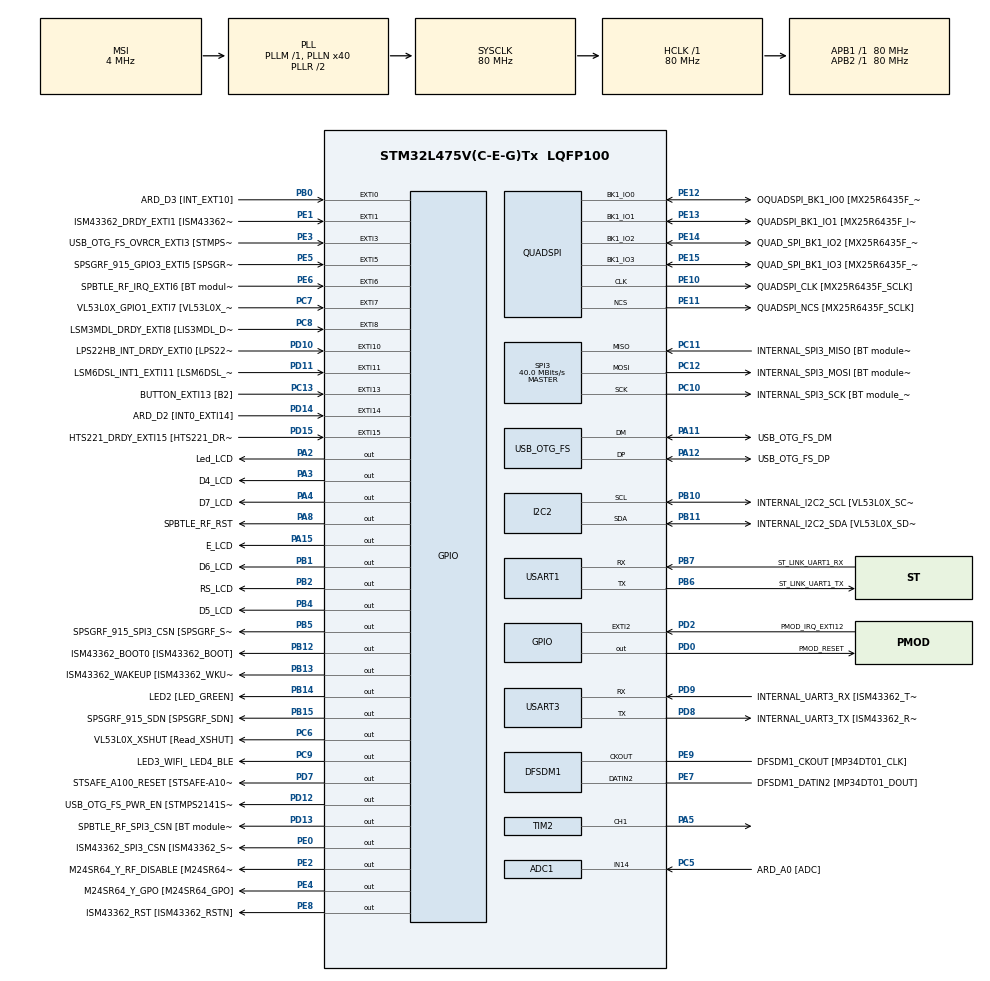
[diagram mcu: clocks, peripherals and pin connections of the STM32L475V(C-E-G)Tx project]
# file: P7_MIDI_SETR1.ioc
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ADC1.Channel-0\#ChannelRegularConversion=ADC_CHANNEL_14
ADC1.NbrOfConversionFlag=1
ADC1.OffsetNumber-0\#ChannelRegularConversion=ADC_OFFSET_NONE
ADC1.Rank-0\#ChannelRegularConversion=1
ADC1.SamplingTime-0\#ChannelRegularConversion=ADC_SAMPLETIME_2CYCLES_5
ADC1.master=1
I2C2.Timing=0x10D19CE4
Mcu.Family=STM32L4
Mcu.Name=STM32L475V(C-E-G)Tx
Mcu.Package=LQFP100
NVIC.EXTI15_10_IRQn=true\:0\:0\:false\:false\:true\:true\:true\:true
NVIC.EXTI9_5_IRQn=true\:0\:0\:false\:false\:true\:true\:true\:true
NVIC.OTG_FS_IRQn=true\:0\:0\:false\:false\:true\:true\:true\:true
NVIC.PriorityGroup=NVIC_PRIORITYGROUP_4
NVIC.TIM7_IRQn=true\:0\:0\:false\:false\:true\:true\:true\:true
PA0.GPIO_Label=ARD_D1 [UART4_TX]
PA0.Signal=UART4_TX
PA1.GPIO_Label=ARD_D0 [UART4_RX]
PA1.Signal=UART4_RX
PA10.GPIO_Label=USB_OTG_FS_ID
PA10.Signal=USB_OTG_FS_ID
PA11.GPIO_Label=USB_OTG_FS_DM
PA11.Mode=Device_Only
PA11.Signal=USB_OTG_FS_DM
PA12.GPIO_Label=USB_OTG_FS_DP
PA12.Mode=Device_Only
PA12.Signal=USB_OTG_FS_DP
PA13\ (JTMS-SWDIO).GPIO_Label=SYS_JTMS_SWDIO
PA13\ (JTMS-SWDIO).Mode=Serial_Wire
PA13\ (JTMS-SWDIO).Signal=SYS_JTMS-SWDIO
PA14\ (JTCK-SWCLK).GPIO_Label=SYS_JTCK_SWCLK
PA14\ (JTCK-SWCLK).Mode=Serial_Wire
PA14\ (JTCK-SWCLK).Signal=SYS_JTCK-SWCLK
PA15\ (JTDI).GPIO_Label=E_LCD
PA15\ (JTDI).Signal=GPIO_Output
PA2.GPIO_Label=Led_LCD
PA2.Signal=GPIO_Output
PA3.GPIO_Label=D4_LCD
PA3.Signal=GPIO_Output
PA4.GPIO_Label=D7_LCD
PA4.Signal=GPIO_Output
PA5.Signal=S_TIM2_CH1
PA6.GPIO_Label=ARD_D12 [SPI1_MISO]
PA6.Signal=SPI1_MISO
PA7.GPIO_Label=ARD_D11 [SPI1_MOSI]
PA7.Signal=SPI1_MOSI
PA8.GPIO_Label=SPBTLE_RF_RST
PA8.Signal=GPIO_Output
PA9.GPIO_Label=USB_OTG_FS_VBUS [STMPS2141STR_OUT]
PA9.Signal=USB_OTG_FS_VBUS
PB0.GPIO_Label=ARD_D3 [INT_EXT10]
PB0.Signal=GPXTI0
PB1.GPIO_Label=D6_LCD
PB1.Signal=GPIO_Output
PB10.GPIO_Label=INTERNAL_I2C2_SCL [VL53L0X_SCL]
PB10.GPIO_Pu=GPIO_PULLUP
PB10.Mode=I2C
PB10.Signal=I2C2_SCL
PB11.GPIO_Label=INTERNAL_I2C2_SDA [VL53L0X_SDA]
PB11.GPIO_Pu=GPIO_PULLUP
PB11.Mode=I2C
PB11.Signal=I2C2_SDA
PB12.GPIO_Label=ISM43362_BOOT0 [ISM43362_BOOT]
PB12.Signal=GPIO_Output
PB13.GPIO_Label=ISM43362_WAKEUP [ISM43362_WKUP]
PB13.Signal=GPIO_Output
PB14.GPIO_Label=LED2 [LED_GREEN]
PB14.Signal=GPIO_Output
PB15.GPIO_Label=SPSGRF_915_SDN [SPSGRF_SDN]
PB15.Signal=GPIO_Output
PB2.GPIO_Label=RS_LCD
PB2.Signal=GPIO_Output
PB3\ (JTDO-TRACESWO).GPIO_Label=SYS_JTD0_SWO
PB3\ (JTDO-TRACESWO).Signal=SYS_JTDO-SWO
PB4\ (NJTRST).GPIO_Label=D5_LCD
PB4\ (NJTRST).Signal=GPIO_Output
PB5.GPIO_Label=SPSGRF_915_SPI3_CSN [SPSGRF_SPI_CS]
PB5.PinState=GPIO_PIN_SET
PB5.Signal=GPIO_Output
PB6.GPIO_Label=ST_LINK_UART1_TX
PB6.Mode=Asynchronous
PB6.Signal=USART1_TX
PB7.GPIO_Label=ST_LINK_UART1_RX
PB7.Mode=Asynchronous
PB7.Signal=USART1_RX
PB8.GPIO_Label=ARD_D15 [I2C1_SCL]
PB8.Signal=I2C1_SCL
PB9.GPIO_Label=ARD_D14 [I2C1_SDA]
PB9.Signal=I2C1_SDA
PC0.GPIO_Label=ARD_A5 [ADC]
PC0.Signal=ADCx_IN1
PC1.GPIO_Label=ARD_A4 [ADC]
PC1.Signal=ADCx_IN2
PC10.GPIO_Label=INTERNAL_SPI3_SCK [BT module_SPI_SCLK] [ISM43362_SCK]
PC10.Mode=Full_Duplex_Master
PC10.Signal=SPI3_SCK
PC11.GPIO_Label=INTERNAL_SPI3_MISO [BT module_SPI_MISO] [ISM43362_MISO]
PC11.Mode=Full_Duplex_Master
PC11.Signal=SPI3_MISO
PC12.GPIO_Label=INTERNAL_SPI3_MOSI [BT module_SPI_MOSI] [ISM43362_MOSI]
PC12.Mode=Full_Duplex_Master
PC12.Signal=SPI3_MOSI
PC13.GPIO_Label=BUTTON_EXTI13 [B2]
PC13.GPIO_ModeDefaultEXTI=GPIO_MODE_IT_FALLING
PC13.Signal=GPXTI13
PC14-OSC32_IN\ (PC14).Mode=LSE-External-Oscillator
PC14-OSC32_IN\ (PC14).Signal=RCC_OSC32_IN
PC15-OSC32_OUT\ (PC15).Mode=LSE-External-Oscillator
PC15-OSC32_OUT\ (PC15).Signal=RCC_OSC32_OUT
PC2.GPIO_Label=ARD_A3 [ADC]
PC2.Signal=ADCx_IN3
PC3.GPIO_Label=ARD_A2 [ADC]
PC3.Signal=ADCx_IN4
PC4.GPIO_Label=ARD_A1 [ADC]
PC4.Signal=ADCx_IN13
PC5.GPIO_Label=ARD_A0 [ADC]
PC5.Signal=ADCx_IN14
PC6.GPIO_Label=VL53L0X_XSHUT [Read_XSHUT]
PC6.Signal=GPIO_Output
PC7.GPIO_Label=VL53L0X_GPIO1_EXTI7 [VL53L0X_GPIO1]
PC7.Signal=GPXTI7
PC8.GPIO_Label=LSM3MDL_DRDY_EXTI8 [LIS3MDL_DRDY]
PC8.Signal=GPXTI8
PC9.GPIO_Label=LED3_WIFI_ LED4_BLE
PC9.Signal=GPIO_Output
PD0.GPIO_Label=PMOD_RESET
PD0.Signal=GPIO_Output
PD1.GPIO_Label=PMOD_SPI2_SCK
PD1.Signal=SPI2_SCK
PD10.GPIO_Label=LPS22HB_INT_DRDY_EXTI0 [LPS22HB_INT_DRDY] 
PD10.Signal=GPXTI10
PD11.GPIO_Label=LSM6DSL_INT1_EXTI11 [LSM6DSL_INT1]
PD11.Signal=GPXTI11
PD12.GPIO_Label=USB_OTG_FS_PWR_EN [STMPS2141STR_EN]
PD12.Signal=GPIO_Output
PD13.GPIO_Label=SPBTLE_RF_SPI3_CSN [BT module_SPI_CS]
PD13.PinState=GPIO_PIN_SET
PD13.Signal=GPIO_Output
PD14.GPIO_Label=ARD_D2 [INT0_EXTI14]
PD14.Signal=GPXTI14
PD15.GPIO_Label=HTS221_DRDY_EXTI15 [HTS221_DRDY]
PD15.Signal=GPXTI15
PD2.GPIO_Label=PMOD_IRQ_EXTI12
PD2.Signal=GPXTI2
PD3.GPIO_Label=PMOD_UART2_CTS
PD3.Signal=USART2_CTS
PD4.GPIO_Label=PMOD_UART2_RTS
PD4.Signal=USART2_RTS
PD5.GPIO_Label=PMOD_UART2_TX
PD5.Signal=USART2_TX
PD6.GPIO_Label=PMOD_UART2_RX
PD6.Signal=USART2_RX
PD7.GPIO_Label=STSAFE_A100_RESET [STSAFE-A100_RESET]
PD7.Signal=GPIO_Output
PD8.GPIO_Label=INTERNAL_UART3_TX [ISM43362_RX]
PD8.Mode=Asynchronous
PD8.Signal=USART3_TX
PD9.GPIO_Label=INTERNAL_UART3_RX [ISM43362_TX]
PD9.Mode=Asynchronous
PD9.Signal=USART3_RX
PE0.GPIO_Label=ISM43362_SPI3_CSN [ISM43362_SSN]
PE0.PinState=GPIO_PIN_SET
PE0.Signal=GPIO_Output
PE1.GPIO_Label=ISM43362_DRDY_EXTI1 [ISM43362_DATARDY]
PE1.Signal=GPXTI1
PE10.GPIO_Label=QUADSPI_CLK [MX25R6435F_SCLK]
PE10.Mode=Single Bank
PE10.Signal=QUADSPI_CLK
PE11.GPIO_Label=QUADSPI_NCS [MX25R6435F_SCLK]
PE11.Mode=Single Bank
PE11.Signal=QUADSPI_NCS
PE12.GPIO_Label=OQUADSPI_BK1_IO0 [MX25R6435F_IO0]
PE12.Mode=Single Bank
PE12.Signal=QUADSPI_BK1_IO0
PE13.GPIO_Label=QUADSPI_BK1_IO1 [MX25R6435F_IO1]
PE13.Mode=Single Bank
PE13.Signal=QUADSPI_BK1_IO1
PE14.GPIO_Label=QUAD_SPI_BK1_IO2 [MX25R6435F_IO2]
PE14.Mode=Single Bank
PE14.Signal=QUADSPI_BK1_IO2
PE15.GPIO_Label=QUAD_SPI_BK1_IO3 [MX25R6435F_IO3]
PE15.Mode=Single Bank
PE15.Signal=QUADSPI_BK1_IO3
PE2.GPIO_Label=M24SR64_Y_RF_DISABLE [M24SR64_RFDIS]
PE2.Signal=GPIO_Output
PE3.GPIO_Label=USB_OTG_FS_OVRCR_EXTI3 [STMPS2141STR_FAULT]
PE3.Signal=GPXTI3
PE4.GPIO_Label=M24SR64_Y_GPO [M24SR64_GPO]
PE4.Signal=GPIO_Output
PE5.GPIO_Label=SPSGRF_915_GPIO3_EXTI5 [SPSGRF_GPIO_3]
PE5.Signal=GPXTI5
PE6.GPIO_Label=SPBTLE_RF_IRQ_EXTI6 [BT module_SPI_IRQ]
PE6.Signal=GPXTI6
PE7.GPIO_Label=DFSDM1_DATIN2 [MP34DT01_DOUT]
PE7.Signal=S_DATAIN2DFSDM1
PE8.GPIO_Label=ISM43362_RST [ISM43362_RSTN]
PE8.Signal=GPIO_Output
PE9.GPIO_Label=DFSDM1_CKOUT [MP34DT01_CLK]
PE9.Signal=S_CKOUTDFSDM1
ProjectManager.HeapSize=0x200
ProjectManager.StackSize=0x400
ProjectManager.TargetToolchain=STM32CubeIDE
QUADSPI.ClockPrescaler=2
QUADSPI.FifoThreshold=4
QUADSPI.FlashSize=23
QUADSPI.SampleShifting=QSPI_SAMPLE_SHIFTING_HALFCYCLE
RCC.ADCFreq_Value=48000000
RCC.AHBFreq_Value=80000000
RCC.APB1Freq_Value=80000000
RCC.APB1TimFreq_Value=80000000
RCC.APB2Freq_Value=80000000
RCC.APB2TimFreq_Value=80000000
RCC.CortexFreq_Value=80000000
RCC.HCLKFreq_Value=80000000
RCC.HSE_VALUE=8000000
RCC.HSI_VALUE=16000000
RCC.MSI_VALUE=4000000
RCC.PLLN=40
RCC.PLLSAI1N=24
RCC.SYSCLKFreq_VALUE=80000000
RCC.SYSCLKSource=RCC_SYSCLKSOURCE_PLLCLK
RCC.USBFreq_Value=48000000
RCC.VCOOutputFreq_Value=160000000
SH.ADCx_IN1.0=ADC1_IN1
SH.ADCx_IN13.0=ADC1_IN13
SH.ADCx_IN14.0=ADC1_IN14,IN14-Single-Ended
SH.ADCx_IN2.0=ADC1_IN2
SH.ADCx_IN3.0=ADC1_IN3
SH.ADCx_IN4.0=ADC1_IN4
SH.S_CKOUTDFSDM1.0=DFSDM1_CKOUT,CKOUT
SH.S_CKOUTDFSDM1.1=DFSDM1_CKOUT,PDM_SPI_Input_from_ch12_and_Internal_Clock
SH.S_DATAIN2DFSDM1.0=DFSDM1_DATIN2,PDM_SPI_Input_from_ch12_and_Internal_Clock
SH.S_TIM2_CH1.0=TIM2_CH1,PWM Generation1 CH1
SPI3.CalculateBaudRate=40.0 MBits/s
SPI3.Direction=SPI_DIRECTION_2LINES
SPI3.Mode=SPI_MODE_MASTER
SPI3.VirtualType=VM_MASTER
TIM2.Channel-PWM\ Generation1\ CH1=TIM_CHANNEL_1
TIM2.CounterMode=TIM_COUNTERMODE_DOWN
TIM2.Period=1000
TIM7.Period=3300
USART1.VirtualMode-Asynchronous=VM_ASYNC
USART3.VirtualMode-Asynchronous=VM_ASYNC
USB_DEVICE.CLASS_NAME_FS=CUSTOM_HID
USB_DEVICE.CONFIGURATION_STRING_CUSTOMHID_FS=SETR MIDI Config
USB_DEVICE.INTERFACE_STRING_CUSTOMHID_FS=SETR MIDI Interface
USB_DEVICE.PID_CUSTOMHID_FS=22353
USB_DEVICE.PRODUCT_STRING_CUSTOMHID_FS=SETR MIDI
USB_DEVICE.VID=1156
USB_DEVICE.VirtualMode=CustomHid
USB_DEVICE.VirtualModeFS=Custom_Hid_FS
USB_OTG_FS.VirtualMode=Device_Only
VP_TIM7_VS_ClockSourceINT.Mode=Enable_Timer
VP_USB_DEVICE_VS_USB_DEVICE_CUSTOM_HID_FS.Mode=CUSTOM_HID_FS
board=B-L475E-IOT01A1

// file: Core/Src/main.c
/* USER CODE BEGIN Header */
/**
  ******************************************************************************
  * @file           : main.c
  * @brief          : Main program body
  ******************************************************************************
  * @attention
  *
  * Copyright (c) 2025 STMicroelectronics.
  * All rights reserved.
  *
  * This software is licensed under terms that can be found in the LICENSE file
  * in the root directory of this software component.
  * If no LICENSE file comes with this software, it is provided AS-IS.
  *
  ******************************************************************************
  */
/* USER CODE END Header */
#include "main.h"
#include "usb_device.h"

/* USER CODE BEGIN Includes */
#include "usbd_midi.h"
#include "math.h"
/* USER CODE END Includes */

ADC_HandleTypeDef hadc1;

DFSDM_Channel_HandleTypeDef hdfsdm1_channel1;

I2C_HandleTypeDef hi2c2;

QSPI_HandleTypeDef hqspi;

SPI_HandleTypeDef hspi3;

TIM_HandleTypeDef htim2;
TIM_HandleTypeDef htim7;

UART_HandleTypeDef huart1;
UART_HandleTypeDef huart3;

/* USER CODE BEGIN PV */
extern USBD_HandleTypeDef hUsbDeviceFS;
/* USER CODE END PV */

void SystemClock_Config(void);
void PeriphCommonClock_Config(void);
static void MX_GPIO_Init(void);
static void MX_DFSDM1_Init(void);
static void MX_I2C2_Init(void);
static void MX_QUADSPI_Init(void);
static void MX_SPI3_Init(void);
static void MX_USART1_UART_Init(void);
static void MX_USART3_UART_Init(void);
static void MX_TIM7_Init(void);
static void MX_ADC1_Init(void);
static void MX_TIM2_Init(void);

/* USER CODE BEGIN 0 */
void Transmision_nota_on(uint8_t nota, uint8_t velocidad, uint8_t canal) {
    uint8_t buf[4];
    buf[0] = 0x09;                    // USB MIDI header: Note On
    buf[1] = 0x90 | canal;   // Status byte: Note On + canal
    buf[2] = nota;                   // Nota (0-127)
    buf[3] = velocidad;              // Velocidad (0-127)
    USBD_MIDI_SendReport(&hUsbDeviceFS, buf, 4);
}

void Transmision_nota_off(uint8_t nota, uint8_t velocidad, uint8_t canal) {
    uint8_t buf[4];
    buf[0] = 0x08;                    // USB MIDI header: Note Off
    buf[1] = 0x80 | canal;   // Status byte: Note Off + canal
    buf[2] = nota;
    buf[3] = velocidad;
    USBD_MIDI_SendReport(&hUsbDeviceFS, buf, 4);
}

void Transmision_programchange(uint8_t programa) {
    uint8_t buf[4];
    buf[0] = 0x0C;                    // USB MIDI header: Program Change
    buf[1] = 0xC0;                    // Status byte: Program Change en canal 0
    buf[2] = programa;               // Número de programa (0-127)
    buf[3] = 0x00;                   // Sin uso
    USBD_MIDI_SendReport(&hUsbDeviceFS, buf, 4);
}

void Transmision_controlchange(uint8_t numcontrolador, uint8_t valorcontrolador) {
    uint8_t buf[4];
    buf[0] = 0x0B;                    // USB MIDI header: Control Change
    buf[1] = 0xB0;                    // Status byte: Control Change en canal 0
    buf[2] = numcontrolador;         // Número de controlador (p. ej. 7 = volumen)
    buf[3] = valorcontrolador;       // Valor (0-127)
    USBD_MIDI_SendReport(&hUsbDeviceFS, buf, 4);
}

/* USER CODE END 0 */

int main(void)
{

  /* MCU Configuration--------------------------------------------------------*/

  /* Reset of all peripherals, Initializes the Flash interface and the Systick. */
  HAL_Init();

  /* Configure the system clock */
  SystemClock_Config();

  /* Configure the peripherals common clocks */
  PeriphCommonClock_Config();

  /* Initialize all configured peripherals */
  MX_GPIO_Init();
  MX_DFSDM1_Init();
  MX_I2C2_Init();
  MX_QUADSPI_Init();
  MX_SPI3_Init();
  MX_USART1_UART_Init();
  MX_USART3_UART_Init();
  MX_TIM7_Init();
  MX_USB_DEVICE_Init();
  MX_ADC1_Init();
  MX_TIM2_Init();
  /* USER CODE BEGIN 2 */
  uint8_t escala[] = {60, 62, 64, 65, 67, 69, 71}; // Do Re Mi Fa Sol La Si
  //uint8_t num_notas = sizeof(escala) / sizeof(escala[0]);
  void USBD_MIDI_DataInHandler(uint8_t *usb_rx_buffer, uint8_t usb_rx_buffer_length)
  {
  	uint8_t wire, message, channel, byte1, byte2;
  	while(usb_rx_buffer_length && *usb_rx_buffer != 0x00)
  	{
  		wire = usb_rx_buffer[0] >> 4;
  		message = usb_rx_buffer[1];
  		channel = usb_rx_buffer[1] & 0x0F;
  		byte1 = usb_rx_buffer[2];
  		byte2 = usb_rx_buffer[3];

  		// Nota ON
  		if(message == 0x09 && byte2 > 0)
  		{
  			float freq = 440.0f * pow(2.0f, ((int)byte1 - 69) / 12.0f);
  			uint32_t period = 80000000 / (uint32_t)freq;
  			uint32_t compare = (period * byte2) / 127;

  			__HAL_TIM_SET_AUTORELOAD(&htim2, period);
  			__HAL_TIM_SET_COMPARE(&htim2, TIM_CHANNEL_1, compare);

  			HAL_TIM_PWM_Start(&htim2, TIM_CHANNEL_1);
  		}
  		// Nota OFF o ON sin volumen
  		else if((message == 0x08) || (message == 0x09 && byte2 == 0))
  		{
  			HAL_TIM_PWM_Stop(&htim2, TIM_CHANNEL_1);
  		}

  		usb_rx_buffer += 4;
		usb_rx_buffer_length -= 4;
  	}
  }
  /* USER CODE END 2 */

  /* Infinite loop */
  while (1)
  {

  }
}

void SystemClock_Config(void)
{
  RCC_OscInitTypeDef RCC_OscInitStruct = {0};
  RCC_ClkInitTypeDef RCC_ClkInitStruct = {0};

  /** Configure the main internal regulator output voltage
  */
  if (HAL_PWREx_ControlVoltageScaling(PWR_REGULATOR_VOLTAGE_SCALE1) != HAL_OK)
  {
    Error_Handler();
  }

  /** Configure LSE Drive Capability
  */
  HAL_PWR_EnableBkUpAccess();
  __HAL_RCC_LSEDRIVE_CONFIG(RCC_LSEDRIVE_LOW);

  /** Initializes the RCC Oscillators according to the specified parameters
  * in the RCC_OscInitTypeDef structure.
  */
  RCC_OscInitStruct.OscillatorType = RCC_OSCILLATORTYPE_LSE|RCC_OSCILLATORTYPE_MSI;
  RCC_OscInitStruct.LSEState = RCC_LSE_ON;
  RCC_OscInitStruct.MSIState = RCC_MSI_ON;
  RCC_OscInitStruct.MSICalibrationValue = 0;
  RCC_OscInitStruct.MSIClockRange = RCC_MSIRANGE_6;
  RCC_OscInitStruct.PLL.PLLState = RCC_PLL_ON;
  RCC_OscInitStruct.PLL.PLLSource = RCC_PLLSOURCE_MSI;
  RCC_OscInitStruct.PLL.PLLM = 1;
  RCC_OscInitStruct.PLL.PLLN = 40;
  RCC_OscInitStruct.PLL.PLLP = RCC_PLLP_DIV7;
  RCC_OscInitStruct.PLL.PLLQ = RCC_PLLQ_DIV2;
  RCC_OscInitStruct.PLL.PLLR = RCC_PLLR_DIV2;
  if (HAL_RCC_OscConfig(&RCC_OscInitStruct) != HAL_OK)
  {
    Error_Handler();
  }

  /** Initializes the CPU, AHB and APB buses clocks
  */
  RCC_ClkInitStruct.ClockType = RCC_CLOCKTYPE_HCLK|RCC_CLOCKTYPE_SYSCLK
                              |RCC_CLOCKTYPE_PCLK1|RCC_CLOCKTYPE_PCLK2;
  RCC_ClkInitStruct.SYSCLKSource = RCC_SYSCLKSOURCE_PLLCLK;
  RCC_ClkInitStruct.AHBCLKDivider = RCC_SYSCLK_DIV1;
  RCC_ClkInitStruct.APB1CLKDivider = RCC_HCLK_DIV1;
  RCC_ClkInitStruct.APB2CLKDivider = RCC_HCLK_DIV1;

  if (HAL_RCC_ClockConfig(&RCC_ClkInitStruct, FLASH_LATENCY_4) != HAL_OK)
  {
    Error_Handler();
  }

  /** Enable MSI Auto calibration
  */
  HAL_RCCEx_EnableMSIPLLMode();
}

void PeriphCommonClock_Config(void)
{
  RCC_PeriphCLKInitTypeDef PeriphClkInit = {0};

  /** Initializes the peripherals clock
  */
  PeriphClkInit.PeriphClockSelection = RCC_PERIPHCLK_USB|RCC_PERIPHCLK_ADC;
  PeriphClkInit.AdcClockSelection = RCC_ADCCLKSOURCE_PLLSAI1;
  PeriphClkInit.UsbClockSelection = RCC_USBCLKSOURCE_PLLSAI1;
  PeriphClkInit.PLLSAI1.PLLSAI1Source = RCC_PLLSOURCE_MSI;
  PeriphClkInit.PLLSAI1.PLLSAI1M = 1;
  PeriphClkInit.PLLSAI1.PLLSAI1N = 24;
  PeriphClkInit.PLLSAI1.PLLSAI1P = RCC_PLLP_DIV7;
  PeriphClkInit.PLLSAI1.PLLSAI1Q = RCC_PLLQ_DIV2;
  PeriphClkInit.PLLSAI1.PLLSAI1R = RCC_PLLR_DIV2;
  PeriphClkInit.PLLSAI1.PLLSAI1ClockOut = RCC_PLLSAI1_48M2CLK|RCC_PLLSAI1_ADC1CLK;
  if (HAL_RCCEx_PeriphCLKConfig(&PeriphClkInit) != HAL_OK)
  {
    Error_Handler();
  }
}

static void MX_ADC1_Init(void)
{

  ADC_MultiModeTypeDef multimode = {0};
  ADC_ChannelConfTypeDef sConfig = {0};

  /** Common config
  */
  hadc1.Instance = ADC1;
  hadc1.Init.ClockPrescaler = ADC_CLOCK_ASYNC_DIV1;
  hadc1.Init.Resolution = ADC_RESOLUTION_12B;
  hadc1.Init.DataAlign = ADC_DATAALIGN_RIGHT;
  hadc1.Init.ScanConvMode = ADC_SCAN_DISABLE;
  hadc1.Init.EOCSelection = ADC_EOC_SINGLE_CONV;
  hadc1.Init.LowPowerAutoWait = DISABLE;
  hadc1.Init.ContinuousConvMode = DISABLE;
  hadc1.Init.NbrOfConversion = 1;
  hadc1.Init.DiscontinuousConvMode = DISABLE;
  hadc1.Init.ExternalTrigConv = ADC_SOFTWARE_START;
  hadc1.Init.ExternalTrigConvEdge = ADC_EXTERNALTRIGCONVEDGE_NONE;
  hadc1.Init.DMAContinuousRequests = DISABLE;
  hadc1.Init.Overrun = ADC_OVR_DATA_PRESERVED;
  hadc1.Init.OversamplingMode = DISABLE;
  if (HAL_ADC_Init(&hadc1) != HAL_OK)
  {
    Error_Handler();
  }

  /** Configure the ADC multi-mode
  */
  multimode.Mode = ADC_MODE_INDEPENDENT;
  if (HAL_ADCEx_MultiModeConfigChannel(&hadc1, &multimode) != HAL_OK)
  {
    Error_Handler();
  }

  /** Configure Regular Channel
  */
  sConfig.Channel = ADC_CHANNEL_14;
  sConfig.Rank = ADC_REGULAR_RANK_1;
  sConfig.SamplingTime = ADC_SAMPLETIME_2CYCLES_5;
  sConfig.SingleDiff = ADC_SINGLE_ENDED;
  sConfig.OffsetNumber = ADC_OFFSET_NONE;
  sConfig.Offset = 0;
  if (HAL_ADC_ConfigChannel(&hadc1, &sConfig) != HAL_OK)
  {
    Error_Handler();
  }

}

static void MX_DFSDM1_Init(void)
{

  hdfsdm1_channel1.Instance = DFSDM1_Channel1;
  hdfsdm1_channel1.Init.OutputClock.Activation = ENABLE;
  hdfsdm1_channel1.Init.OutputClock.Selection = DFSDM_CHANNEL_OUTPUT_CLOCK_SYSTEM;
  hdfsdm1_channel1.Init.OutputClock.Divider = 2;
  hdfsdm1_channel1.Init.Input.Multiplexer = DFSDM_CHANNEL_EXTERNAL_INPUTS;
  hdfsdm1_channel1.Init.Input.DataPacking = DFSDM_CHANNEL_STANDARD_MODE;
  hdfsdm1_channel1.Init.Input.Pins = DFSDM_CHANNEL_FOLLOWING_CHANNEL_PINS;
  hdfsdm1_channel1.Init.SerialInterface.Type = DFSDM_CHANNEL_SPI_RISING;
  hdfsdm1_channel1.Init.SerialInterface.SpiClock = DFSDM_CHANNEL_SPI_CLOCK_INTERNAL;
  hdfsdm1_channel1.Init.Awd.FilterOrder = DFSDM_CHANNEL_FASTSINC_ORDER;
  hdfsdm1_channel1.Init.Awd.Oversampling = 1;
  hdfsdm1_channel1.Init.Offset = 0;
  hdfsdm1_channel1.Init.RightBitShift = 0x00;
  if (HAL_DFSDM_ChannelInit(&hdfsdm1_channel1) != HAL_OK)
  {
    Error_Handler();
  }

}

static void MX_I2C2_Init(void)
{

  hi2c2.Instance = I2C2;
  hi2c2.Init.Timing = 0x10D19CE4;
  hi2c2.Init.OwnAddress1 = 0;
  hi2c2.Init.AddressingMode = I2C_ADDRESSINGMODE_7BIT;
  hi2c2.Init.DualAddressMode = I2C_DUALADDRESS_DISABLE;
  hi2c2.Init.OwnAddress2 = 0;
  hi2c2.Init.OwnAddress2Masks = I2C_OA2_NOMASK;
  hi2c2.Init.GeneralCallMode = I2C_GENERALCALL_DISABLE;
  hi2c2.Init.NoStretchMode = I2C_NOSTRETCH_DISABLE;
  if (HAL_I2C_Init(&hi2c2) != HAL_OK)
  {
    Error_Handler();
  }

  /** Configure Analogue filter
  */
  if (HAL_I2CEx_ConfigAnalogFilter(&hi2c2, I2C_ANALOGFILTER_ENABLE) != HAL_OK)
  {
    Error_Handler();
  }

  /** Configure Digital filter
  */
  if (HAL_I2CEx_ConfigDigitalFilter(&hi2c2, 0) != HAL_OK)
  {
    Error_Handler();
  }

}

static void MX_QUADSPI_Init(void)
{

  /* QUADSPI parameter configuration*/
  hqspi.Instance = QUADSPI;
  hqspi.Init.ClockPrescaler = 2;
  hqspi.Init.FifoThreshold = 4;
  hqspi.Init.SampleShifting = QSPI_SAMPLE_SHIFTING_HALFCYCLE;
  hqspi.Init.FlashSize = 23;
  hqspi.Init.ChipSelectHighTime = QSPI_CS_HIGH_TIME_1_CYCLE;
  hqspi.Init.ClockMode = QSPI_CLOCK_MODE_0;
  if (HAL_QSPI_Init(&hqspi) != HAL_OK)
  {
    Error_Handler();
  }

}

static void MX_SPI3_Init(void)
{

  /* SPI3 parameter configuration*/
  hspi3.Instance = SPI3;
  hspi3.Init.Mode = SPI_MODE_MASTER;
  hspi3.Init.Direction = SPI_DIRECTION_2LINES;
  hspi3.Init.DataSize = SPI_DATASIZE_4BIT;
  hspi3.Init.CLKPolarity = SPI_POLARITY_LOW;
  hspi3.Init.CLKPhase = SPI_PHASE_1EDGE;
  hspi3.Init.NSS = SPI_NSS_SOFT;
  hspi3.Init.BaudRatePrescaler = SPI_BAUDRATEPRESCALER_2;
  hspi3.Init.FirstBit = SPI_FIRSTBIT_MSB;
  hspi3.Init.TIMode = SPI_TIMODE_DISABLE;
  hspi3.Init.CRCCalculation = SPI_CRCCALCULATION_DISABLE;
  hspi3.Init.CRCPolynomial = 7;
  hspi3.Init.CRCLength = SPI_CRC_LENGTH_DATASIZE;
  hspi3.Init.NSSPMode = SPI_NSS_PULSE_ENABLE;
  if (HAL_SPI_Init(&hspi3) != HAL_OK)
  {
    Error_Handler();
  }

}

static void MX_TIM2_Init(void)
{

  TIM_MasterConfigTypeDef sMasterConfig = {0};
  TIM_OC_InitTypeDef sConfigOC = {0};

  htim2.Instance = TIM2;
  htim2.Init.Prescaler = 0;
  htim2.Init.CounterMode = TIM_COUNTERMODE_DOWN;
  htim2.Init.Period = 1000;
  htim2.Init.ClockDivision = TIM_CLOCKDIVISION_DIV1;
  htim2.Init.AutoReloadPreload = TIM_AUTORELOAD_PRELOAD_DISABLE;
  if (HAL_TIM_PWM_Init(&htim2) != HAL_OK)
  {
    Error_Handler();
  }
  sMasterConfig.MasterOutputTrigger = TIM_TRGO_RESET;
  sMasterConfig.MasterSlaveMode = TIM_MASTERSLAVEMODE_DISABLE;
  if (HAL_TIMEx_MasterConfigSynchronization(&htim2, &sMasterConfig) != HAL_OK)
  {
    Error_Handler();
  }
  sConfigOC.OCMode = TIM_OCMODE_PWM1;
  sConfigOC.Pulse = 0;
  sConfigOC.OCPolarity = TIM_OCPOLARITY_HIGH;
  sConfigOC.OCFastMode = TIM_OCFAST_DISABLE;
  if (HAL_TIM_PWM_ConfigChannel(&htim2, &sConfigOC, TIM_CHANNEL_1) != HAL_OK)
  {
    Error_Handler();
  }
  HAL_TIM_MspPostInit(&htim2);

}

static void MX_TIM7_Init(void)
{

  TIM_MasterConfigTypeDef sMasterConfig = {0};

  htim7.Instance = TIM7;
  htim7.Init.Prescaler = 0;
  htim7.Init.CounterMode = TIM_COUNTERMODE_UP;
  htim7.Init.Period = 3300;
  htim7.Init.AutoReloadPreload = TIM_AUTORELOAD_PRELOAD_DISABLE;
  if (HAL_TIM_Base_Init(&htim7) != HAL_OK)
  {
    Error_Handler();
  }
  sMasterConfig.MasterOutputTrigger = TIM_TRGO_RESET;
  sMasterConfig.MasterSlaveMode = TIM_MASTERSLAVEMODE_DISABLE;
  if (HAL_TIMEx_MasterConfigSynchronization(&htim7, &sMasterConfig) != HAL_OK)
  {
    Error_Handler();
  }

}

static void MX_USART1_UART_Init(void)
{

  huart1.Instance = USART1;
  huart1.Init.BaudRate = 115200;
  huart1.Init.WordLength = UART_WORDLENGTH_8B;
  huart1.Init.StopBits = UART_STOPBITS_1;
  huart1.Init.Parity = UART_PARITY_NONE;
  huart1.Init.Mode = UART_MODE_TX_RX;
  huart1.Init.HwFlowCtl = UART_HWCONTROL_NONE;
  huart1.Init.OverSampling = UART_OVERSAMPLING_16;
  huart1.Init.OneBitSampling = UART_ONE_BIT_SAMPLE_DISABLE;
  huart1.AdvancedInit.AdvFeatureInit = UART_ADVFEATURE_NO_INIT;
  if (HAL_UART_Init(&huart1) != HAL_OK)
  {
    Error_Handler();
  }

}

static void MX_USART3_UART_Init(void)
{

  huart3.Instance = USART3;
  huart3.Init.BaudRate = 115200;
  huart3.Init.WordLength = UART_WORDLENGTH_8B;
  huart3.Init.StopBits = UART_STOPBITS_1;
  huart3.Init.Parity = UART_PARITY_NONE;
  huart3.Init.Mode = UART_MODE_TX_RX;
  huart3.Init.HwFlowCtl = UART_HWCONTROL_NONE;
  huart3.Init.OverSampling = UART_OVERSAMPLING_16;
  huart3.Init.OneBitSampling = UART_ONE_BIT_SAMPLE_DISABLE;
  huart3.AdvancedInit.AdvFeatureInit = UART_ADVFEATURE_NO_INIT;
  if (HAL_UART_Init(&huart3) != HAL_OK)
  {
    Error_Handler();
  }

}

static void MX_GPIO_Init(void)
{
  GPIO_InitTypeDef GPIO_InitStruct = {0};

  /* GPIO Ports Clock Enable */
  __HAL_RCC_GPIOE_CLK_ENABLE();
  __HAL_RCC_GPIOC_CLK_ENABLE();
  __HAL_RCC_GPIOA_CLK_ENABLE();
  __HAL_RCC_GPIOB_CLK_ENABLE();
  __HAL_RCC_GPIOD_CLK_ENABLE();

  /*Configure GPIO pin Output Level */
  HAL_GPIO_WritePin(GPIOE, M24SR64_Y_RF_DISABLE_Pin|M24SR64_Y_GPO_Pin|ISM43362_RST_Pin, GPIO_PIN_RESET);

  /*Configure GPIO pin Output Level */
  HAL_GPIO_WritePin(GPIOA, Led_LCD_Pin|D4_LCD_Pin|D7_LCD_Pin|SPBTLE_RF_RST_Pin
                          |E_LCD_Pin, GPIO_PIN_RESET);

  /*Configure GPIO pin Output Level */
  HAL_GPIO_WritePin(GPIOB, D6_LCD_Pin|RS_LCD_Pin|ISM43362_BOOT0_Pin|ISM43362_WAKEUP_Pin
                          |LED2_Pin|SPSGRF_915_SDN_Pin|D5_LCD_Pin, GPIO_PIN_RESET);

  /*Configure GPIO pin Output Level */
  HAL_GPIO_WritePin(GPIOD, USB_OTG_FS_PWR_EN_Pin|PMOD_RESET_Pin|STSAFE_A100_RESET_Pin, GPIO_PIN_RESET);

  /*Configure GPIO pin Output Level */
  HAL_GPIO_WritePin(SPBTLE_RF_SPI3_CSN_GPIO_Port, SPBTLE_RF_SPI3_CSN_Pin, GPIO_PIN_SET);

  /*Configure GPIO pin Output Level */
  HAL_GPIO_WritePin(GPIOC, VL53L0X_XSHUT_Pin|LED3_WIFI__LED4_BLE_Pin, GPIO_PIN_RESET);

  /*Configure GPIO pin Output Level */
  HAL_GPIO_WritePin(SPSGRF_915_SPI3_CSN_GPIO_Port, SPSGRF_915_SPI3_CSN_Pin, GPIO_PIN_SET);

  /*Configure GPIO pin Output Level */
  HAL_GPIO_WritePin(ISM43362_SPI3_CSN_GPIO_Port, ISM43362_SPI3_CSN_Pin, GPIO_PIN_SET);

  /*Configure GPIO pins : M24SR64_Y_RF_DISABLE_Pin M24SR64_Y_GPO_Pin ISM43362_RST_Pin ISM43362_SPI3_CSN_Pin */
  GPIO_InitStruct.Pin = M24SR64_Y_RF_DISABLE_Pin|M24SR64_Y_GPO_Pin|ISM43362_RST_Pin|ISM43362_SPI3_CSN_Pin;
  GPIO_InitStruct.Mode = GPIO_MODE_OUTPUT_PP;
  GPIO_InitStruct.Pull = GPIO_NOPULL;
  GPIO_InitStruct.Speed = GPIO_SPEED_FREQ_LOW;
  HAL_GPIO_Init(GPIOE, &GPIO_InitStruct);

  /*Configure GPIO pins : USB_OTG_FS_OVRCR_EXTI3_Pin SPSGRF_915_GPIO3_EXTI5_Pin SPBTLE_RF_IRQ_EXTI6_Pin ISM43362_DRDY_EXTI1_Pin */
  GPIO_InitStruct.Pin = USB_OTG_FS_OVRCR_EXTI3_Pin|SPSGRF_915_GPIO3_EXTI5_Pin|SPBTLE_RF_IRQ_EXTI6_Pin|ISM43362_DRDY_EXTI1_Pin;
  GPIO_InitStruct.Mode = GPIO_MODE_IT_RISING;
  GPIO_InitStruct.Pull = GPIO_NOPULL;
  HAL_GPIO_Init(GPIOE, &GPIO_InitStruct);

  /*Configure GPIO pin : BUTTON_EXTI13_Pin */
  GPIO_InitStruct.Pin = BUTTON_EXTI13_Pin;
  GPIO_InitStruct.Mode = GPIO_MODE_IT_FALLING;
  GPIO_InitStruct.Pull = GPIO_NOPULL;
  HAL_GPIO_Init(BUTTON_EXTI13_GPIO_Port, &GPIO_InitStruct);

  /*Configure GPIO pins : ARD_D1_Pin ARD_D0_Pin */
  GPIO_InitStruct.Pin = ARD_D1_Pin|ARD_D0_Pin;
  GPIO_InitStruct.Mode = GPIO_MODE_AF_PP;
  GPIO_InitStruct.Pull = GPIO_NOPULL;
  GPIO_InitStruct.Speed = GPIO_SPEED_FREQ_VERY_HIGH;
  GPIO_InitStruct.Alternate = GPIO_AF8_UART4;
  HAL_GPIO_Init(GPIOA, &GPIO_InitStruct);

  /*Configure GPIO pins : Led_LCD_Pin D4_LCD_Pin D7_LCD_Pin SPBTLE_RF_RST_Pin
                           E_LCD_Pin */
  GPIO_InitStruct.Pin = Led_LCD_Pin|D4_LCD_Pin|D7_LCD_Pin|SPBTLE_RF_RST_Pin
                          |E_LCD_Pin;
  GPIO_InitStruct.Mode = GPIO_MODE_OUTPUT_PP;
  GPIO_InitStruct.Pull = GPIO_NOPULL;
  GPIO_InitStruct.Speed = GPIO_SPEED_FREQ_LOW;
  HAL_GPIO_Init(GPIOA, &GPIO_InitStruct);

  /*Configure GPIO pins : ARD_D12_Pin ARD_D11_Pin */
  GPIO_InitStruct.Pin = ARD_D12_Pin|ARD_D11_Pin;
  GPIO_InitStruct.Mode = GPIO_MODE_AF_PP;
  GPIO_InitStruct.Pull = GPIO_NOPULL;
  GPIO_InitStruct.Speed = GPIO_SPEED_FREQ_VERY_HIGH;
  GPIO_InitStruct.Alternate = GPIO_AF5_SPI1;
  HAL_GPIO_Init(GPIOA, &GPIO_InitStruct);

  /*Configure GPIO pin : ARD_D3_Pin */
  GPIO_InitStruct.Pin = ARD_D3_Pin;
  GPIO_InitStruct.Mode = GPIO_MODE_IT_RISING;
  GPIO_InitStruct.Pull = GPIO_NOPULL;
  HAL_GPIO_Init(ARD_D3_GPIO_Port, &GPIO_InitStruct);

  /*Configure GPIO pins : D6_LCD_Pin RS_LCD_Pin ISM43362_BOOT0_Pin ISM43362_WAKEUP_Pin
                           LED2_Pin SPSGRF_915_SDN_Pin D5_LCD_Pin SPSGRF_915_SPI3_CSN_Pin */
  GPIO_InitStruct.Pin = D6_LCD_Pin|RS_LCD_Pin|ISM43362_BOOT0_Pin|ISM43362_WAKEUP_Pin
                          |LED2_Pin|SPSGRF_915_SDN_Pin|D5_LCD_Pin|SPSGRF_915_SPI3_CSN_Pin;
  GPIO_InitStruct.Mode = GPIO_MODE_OUTPUT_PP;
  GPIO_InitStruct.Pull = GPIO_NOPULL;
  GPIO_InitStruct.Speed = GPIO_SPEED_FREQ_LOW;
  HAL_GPIO_Init(GPIOB, &GPIO_InitStruct);

  /*Configure GPIO pins : LPS22HB_INT_DRDY_EXTI0_Pin LSM6DSL_INT1_EXTI11_Pin ARD_D2_Pin HTS221_DRDY_EXTI15_Pin
                           PMOD_IRQ_EXTI12_Pin */
  GPIO_InitStruct.Pin = LPS22HB_INT_DRDY_EXTI0_Pin|LSM6DSL_INT1_EXTI11_Pin|ARD_D2_Pin|HTS221_DRDY_EXTI15_Pin
                          |PMOD_IRQ_EXTI12_Pin;
  GPIO_InitStruct.Mode = GPIO_MODE_IT_RISING;
  GPIO_InitStruct.Pull = GPIO_NOPULL;
  HAL_GPIO_Init(GPIOD, &GPIO_InitStruct);

  /*Configure GPIO pins : USB_OTG_FS_PWR_EN_Pin SPBTLE_RF_SPI3_CSN_Pin PMOD_RESET_Pin STSAFE_A100_RESET_Pin */
  GPIO_InitStruct.Pin = USB_OTG_FS_PWR_EN_Pin|SPBTLE_RF_SPI3_CSN_Pin|PMOD_RESET_Pin|STSAFE_A100_RESET_Pin;
  GPIO_InitStruct.Mode = GPIO_MODE_OUTPUT_PP;
  GPIO_InitStruct.Pull = GPIO_NOPULL;
  GPIO_InitStruct.Speed = GPIO_SPEED_FREQ_LOW;
  HAL_GPIO_Init(GPIOD, &GPIO_InitStruct);

  /*Configure GPIO pins : VL53L0X_XSHUT_Pin LED3_WIFI__LED4_BLE_Pin */
  GPIO_InitStruct.Pin = VL53L0X_XSHUT_Pin|LED3_WIFI__LED4_BLE_Pin;
  GPIO_InitStruct.Mode = GPIO_MODE_OUTPUT_PP;
  GPIO_InitStruct.Pull = GPIO_NOPULL;
  GPIO_InitStruct.Speed = GPIO_SPEED_FREQ_LOW;
  HAL_GPIO_Init(GPIOC, &GPIO_InitStruct);

  /*Configure GPIO pins : VL53L0X_GPIO1_EXTI7_Pin LSM3MDL_DRDY_EXTI8_Pin */
  GPIO_InitStruct.Pin = VL53L0X_GPIO1_EXTI7_Pin|LSM3MDL_DRDY_EXTI8_Pin;
  GPIO_InitStruct.Mode = GPIO_MODE_IT_RISING;
  GPIO_InitStruct.Pull = GPIO_NOPULL;
  HAL_GPIO_Init(GPIOC, &GPIO_InitStruct);

  /*Configure GPIO pin : PMOD_SPI2_SCK_Pin */
  GPIO_InitStruct.Pin = PMOD_SPI2_SCK_Pin;
  GPIO_InitStruct.Mode = GPIO_MODE_AF_PP;
  GPIO_InitStruct.Pull = GPIO_NOPULL;
  GPIO_InitStruct.Speed = GPIO_SPEED_FREQ_VERY_HIGH;
  GPIO_InitStruct.Alternate = GPIO_AF5_SPI2;
  HAL_GPIO_Init(PMOD_SPI2_SCK_GPIO_Port, &GPIO_InitStruct);

  /*Configure GPIO pins : PMOD_UART2_CTS_Pin PMOD_UART2_RTS_Pin PMOD_UART2_TX_Pin PMOD_UART2_RX_Pin */
  GPIO_InitStruct.Pin = PMOD_UART2_CTS_Pin|PMOD_UART2_RTS_Pin|PMOD_UART2_TX_Pin|PMOD_UART2_RX_Pin;
  GPIO_InitStruct.Mode = GPIO_MODE_AF_PP;
  GPIO_InitStruct.Pull = GPIO_NOPULL;
  GPIO_InitStruct.Speed = GPIO_SPEED_FREQ_VERY_HIGH;
  GPIO_InitStruct.Alternate = GPIO_AF7_USART2;
  HAL_GPIO_Init(GPIOD, &GPIO_InitStruct);

  /*Configure GPIO pins : ARD_D15_Pin ARD_D14_Pin */
  GPIO_InitStruct.Pin = ARD_D15_Pin|ARD_D14_Pin;
  GPIO_InitStruct.Mode = GPIO_MODE_AF_OD;
  GPIO_InitStruct.Pull = GPIO_NOPULL;
  GPIO_InitStruct.Speed = GPIO_SPEED_FREQ_VERY_HIGH;
  GPIO_InitStruct.Alternate = GPIO_AF4_I2C1;
  HAL_GPIO_Init(GPIOB, &GPIO_InitStruct);

  /* EXTI interrupt init*/
  HAL_NVIC_SetPriority(EXTI9_5_IRQn, 0, 0);
  HAL_NVIC_EnableIRQ(EXTI9_5_IRQn);

  HAL_NVIC_SetPriority(EXTI15_10_IRQn, 0, 0);
  HAL_NVIC_EnableIRQ(EXTI15_10_IRQn);

}

void Error_Handler(void)
{
  __disable_irq();
  while (1)
  {
  }
}
